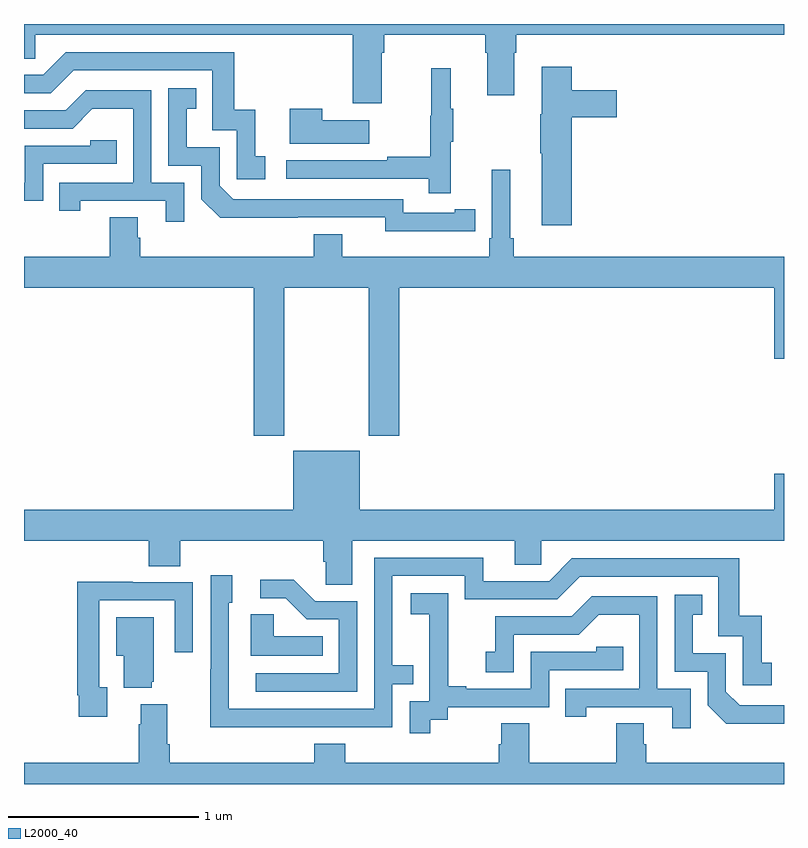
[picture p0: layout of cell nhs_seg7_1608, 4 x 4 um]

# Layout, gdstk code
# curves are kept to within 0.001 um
import gdstk
lib = gdstk.Library(unit=1e-6, precision=1e-09)
def P(c, l, *ps):  # polygons
    for p in ps: c.add(gdstk.Polygon(p, *l))
L2000_40 = (2000, 40)

nhs_seg7_1608 = lib.new_cell('nhs_seg7_1608')
P(nhs_seg7_1608, L2000_40, [(222.883,1005.848),(222.896,1005.848),(222.896,1005.944),(223.427,1005.944),(223.427,1005.848),(223.439,1005.848),(223.439,1005.624),(223.579,1005.624),(223.579,1005.848),(223.592,1005.848),(223.592,1005.944),(225,1005.944),(225,1006),(221,1006),(221,1005.817),(221.058,1005.817),(221.058,1005.944),(222.731,1005.944),(222.731,1005.582),(222.883,1005.582)],
  [(222.271,1005.303),(222.218,1005.303),(222.218,1005.55),(222.107,1005.55),(222.107,1005.852),(221.22,1005.852),(221.1,1005.732),(221,1005.732),(221,1005.636),(221.142,1005.636),(221.262,1005.756),(221.991,1005.756),(221.991,1005.441),(222.12,1005.441),(222.12,1005.183),(222.271,1005.183)],
  [(223.883,1005.509),(224.119,1005.509),(224.119,1005.651),(223.883,1005.651),(223.883,1005.775),(223.724,1005.775),(223.724,1005.525),(223.717,1005.525),(223.717,1005.319),(223.724,1005.319),(223.724,1004.94),(223.883,1004.94)],
  [(223.247,1005.379),(223.258,1005.379),(223.258,1005.553),(223.247,1005.553),(223.247,1005.766),(223.144,1005.766),(223.144,1005.516),(223.137,1005.516),(223.137,1005.302),(222.913,1005.302),(222.913,1005.282),(222.381,1005.282),(222.381,1005.186),(223.129,1005.186),(223.129,1005.108),(223.247,1005.108)],
  [(223.268,1004.91),(223.376,1004.91),(223.376,1005.026),(223.268,1005.026),(223.268,1005.006),(222.996,1005.006),(222.996,1005.078),(222.102,1005.078),(222.03,1005.15),(222.03,1005.351),(221.857,1005.351),(221.857,1005.555),(221.906,1005.555),(221.906,1005.661),(221.76,1005.661),(221.76,1005.255),(221.934,1005.255),(221.934,1005.078),(222.032,1004.981),(222.9,1004.982),(222.9,1004.909)],
  [(221.844,1005.165),(221.67,1005.165),(221.67,1005.651),(221.324,1005.651),(221.219,1005.546),(221,1005.546),(221,1005.45),(221.256,1005.45),(221.36,1005.554),(221.574,1005.554),(221.574,1005.165),(221.185,1005.165),(221.185,1005.018),(221.296,1005.018),(221.296,1005.069),(221.747,1005.069),(221.747,1004.958),(221.844,1004.958)],
  [(222.817,1005.493),(222.569,1005.493),(222.569,1005.553),(222.398,1005.553),(222.398,1005.371),(222.817,1005.371)],
  [(221.1,1005.264),(221.489,1005.264),(221.489,1005.387),(221.349,1005.387),(221.349,1005.36),(221.004,1005.36),(221.004,1005.165),(221,1005.165),(221,1005.069),(221.1,1005.069)],
  [(222.369,1004.612),(222.814,1004.612),(222.814,1003.833),(222.974,1003.833),(222.974,1004.612),(224.948,1004.612),(224.948,1004.238),(225,1004.238),(225,1004.776),(223.577,1004.776),(223.577,1004.872),(223.558,1004.872),(223.558,1005.232),(223.461,1005.232),(223.461,1004.872),(223.448,1004.872),(223.448,1004.776),(222.676,1004.776),(222.676,1004.893),(222.524,1004.893),(222.524,1004.776),(221.612,1004.776),(221.612,1004.874),(221.599,1004.874),(221.599,1004.984),(221.452,1004.984),(221.452,1004.776),(221,1004.776),(221,1004.612),(222.209,1004.612),(222.209,1003.833),(222.369,1003.833)],
  [(222.727,1003.28),(223.583,1003.28),(223.583,1003.153),(223.722,1003.153),(223.722,1003.28),(225,1003.28),(225,1003.633),(224.948,1003.633),(224.948,1003.444),(222.766,1003.444),(222.766,1003.753),(222.416,1003.753),(222.416,1003.444),(221,1003.444),(221,1003.28),(221.657,1003.28),(221.657,1003.147),(221.822,1003.147),(221.822,1003.28),(222.575,1003.28),(222.575,1003.171),(222.588,1003.171),(222.588,1003.048),(222.727,1003.048)],
  [(222.443,1002.3),(222.939,1002.3),(222.939,1002.525),(223.049,1002.525),(223.049,1002.626),(222.939,1002.626),(222.939,1003.095),(223.32,1003.095),(223.32,1002.972),(223.806,1002.972),(223.926,1003.092),(224.655,1003.092),(224.655,1002.777),(224.784,1002.777),(224.784,1002.519),(224.935,1002.519),(224.935,1002.639),(224.882,1002.639),(224.882,1002.886),(224.764,1002.886),(224.764,1003.188),(223.884,1003.188),(223.764,1003.068),(223.417,1003.068),(223.417,1003.191),(222.843,1003.191),(222.843,1002.396),(222.078,1002.396),(222.078,1002.954),(222.097,1002.954),(222.097,1003.099),(221.982,1003.099),(221.982,1002.605),(221.98,1002.605),(221.98,1002.299)],
  [(222.753,1002.963),(222.534,1002.963),(222.421,1003.076),(222.243,1003.076),(222.243,1002.978),(222.377,1002.978),(222.488,1002.867),(222.657,1002.867),(222.657,1002.582),(222.219,1002.582),(222.219,1002.486),(222.753,1002.486)],
  [(221.437,1002.51),(221.397,1002.51),(221.397,1002.966),(221.793,1002.966),(221.793,1002.693),(221.889,1002.693),(221.889,1003.062),(221.573,1003.062),(221.573,1003.064),(221.281,1003.064),(221.281,1002.466),(221.289,1002.466),(221.289,1002.354),(221.437,1002.354)],
  [(223.138,1002.337),(223.23,1002.337),(223.23,1002.405),(223.764,1002.405),(223.764,1002.6),(224.153,1002.6),(224.153,1002.723),(224.013,1002.723),(224.013,1002.696),(223.668,1002.696),(223.668,1002.501),(223.327,1002.501),(223.327,1002.514),(223.232,1002.514),(223.232,1002.797),(223.233,1002.797),(223.233,1003.003),(223.035,1003.003),(223.035,1002.893),(223.133,1002.893),(223.133,1002.665),(223.134,1002.665),(223.134,1002.435),(223.029,1002.435),(223.029,1002.267),(223.138,1002.267)],
  [(225,1002.414),(224.766,1002.414),(224.694,1002.486),(224.694,1002.687),(224.521,1002.687),(224.521,1002.891),(224.57,1002.891),(224.57,1002.997),(224.424,1002.997),(224.424,1002.591),(224.598,1002.591),(224.598,1002.414),(224.696,1002.317),(225,1002.317)],
  [(224.508,1002.501),(224.334,1002.501),(224.334,1002.987),(223.988,1002.987),(223.883,1002.882),(223.48,1002.882),(223.48,1002.697),(223.431,1002.697),(223.431,1002.588),(223.578,1002.588),(223.578,1002.786),(223.92,1002.786),(224.024,1002.89),(224.238,1002.89),(224.238,1002.501),(223.849,1002.501),(223.849,1002.354),(223.96,1002.354),(223.96,1002.405),(224.411,1002.405),(224.411,1002.294),(224.508,1002.294)],
  [(222.572,1002.778),(222.315,1002.778),(222.315,1002.893),(222.194,1002.893),(222.194,1002.674),(222.572,1002.674)],
  [(221.672,1002.537),(221.683,1002.537),(221.683,1002.877),(221.486,1002.877),(221.486,1002.674),(221.525,1002.674),(221.525,1002.506),(221.672,1002.506)],
  [(225,1002.112),(224.276,1002.112),(224.276,1002.21),(224.263,1002.21),(224.263,1002.32),(224.116,1002.32),(224.116,1002.112),(223.659,1002.112),(223.659,1002.32),(223.511,1002.32),(223.511,1002.21),(223.499,1002.21),(223.499,1002.112),(222.692,1002.112),(222.692,1002.211),(222.527,1002.211),(222.527,1002.112),(221.768,1002.112),(221.768,1002.208),(221.755,1002.208),(221.755,1002.421),(221.615,1002.421),(221.615,1002.314),(221.603,1002.314),(221.603,1002.112),(221,1002.112),(221,1002),(225,1002)])

lib.write_gds('nhs_seg7_1608.gds')
